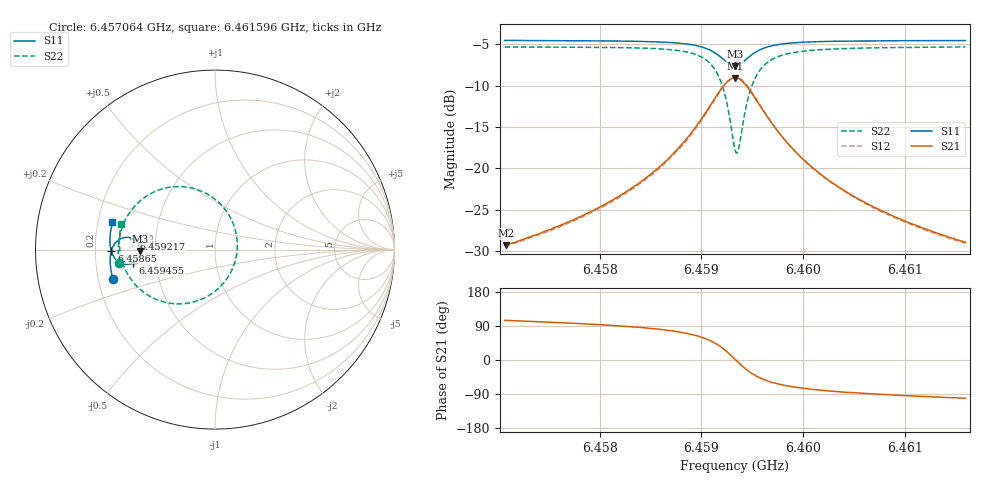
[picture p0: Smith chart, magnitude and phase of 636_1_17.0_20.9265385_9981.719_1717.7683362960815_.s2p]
#  HZ  S  RI  R  50.00
! Rohde & Schwarz Vector Network Analyzer
! Rohde-Schwarz,ZNB20-2Port,1311601062101988,3.16
! Created: UTC 3/20/2024, 11:20:38 PM
! freq[Hz]  re:S11  im:S11  re:S21  im:S21  re:S12  im:S12  re:S22  im:S22
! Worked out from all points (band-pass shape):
!   401 points, 6.457064 GHz to 6.461596 GHz, reference 50 ohm
!   highest |S21| = -9.08 dB at 6.45933 GHz (marker M1); lowest = -29.3 dB at 6.457076 GHz (marker M2)
!   |S21| within 3 dB of the highest: 6.459104 GHz to 6.459557 GHz (452.7 kHz wide, 0.00701 % of centre)
!   lowest |S11| = -7.6 dB at 6.45933 GHz (marker M3), VSWR 2.42, Z = 20.7 - j0.359 ohm
!   |S11| at or under -10 dB: nowhere
!   |S22| runs from -18.1 to -5.3 dB; largest |S21 - S12| = 0.014
!   S11 on the Smith chart (normalised r, x): 6.457064 GHz: 0.26, -0.13; 6.45865 GHz: 0.27, -0.00; 6.459217 GHz: 0.38, +0.05; 6.459455 GHz: 0.37, -0.07; 6.461596 GHz: 0.26, +0.12
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6.4570644e9  -0.5686 -0.1654  -0.00859 0.0332  -0.00691 0.0331  -0.5347 -0.0766
6.4570757e9  -0.5688 -0.1644  -0.00876 0.033  -0.00684 0.0332  -0.5349 -0.0754
6.4578234e9  -0.5817 -0.0985  -0.00517 0.0513  -0.00252 0.0506  -0.5388 0.0135
6.4582425e9  -0.5841 -0.0563  0.000993 0.071  0.00443 0.0696  -0.5295 0.0808
6.4585824e9  -0.5798 -0.0153  0.0154 0.1002  0.0193 0.0974  -0.5028 0.1589
6.4586504e9  -0.5774 -0.00585  0.0209 0.1087  0.025 0.1054  -0.4924 0.179
6.4588429e9  -0.5644 0.0246  0.0481 0.1399  0.0522 0.1348  -0.4412 0.2485
6.4589902e9  -0.5414 0.0509  0.0944 0.1705  0.0975 0.1636  -0.3559 0.3131
6.4591261e9  -0.4967 0.068  0.183 0.1867  0.1837 0.1792  -0.1936 0.351
6.4592168e9  -0.4515 0.0573  0.2741 0.1544  0.2743 0.1487  -0.0244 0.2984
6.4592847e9  -0.4221 0.0245  0.3352 0.0809  0.3375 0.0758  0.0924 0.1655
6.45933e9  -0.4153 -0.00719  0.3513 0.0117  0.3553 0.00482  0.1245 0.0357
6.459364e9  -0.4193 -0.0313  0.3452 -0.0417  0.3494 -0.0508  0.1121 -0.0659
6.4594093e9  -0.4354 -0.0578  0.3156 -0.1025  0.318 -0.1146  0.052 -0.1811
6.4594547e9  -0.4579 -0.0744  0.2725 -0.1439  0.2717 -0.1575  -0.0355 -0.2568
6.4595453e9  -0.5021 -0.0812  0.1859 -0.1749  0.1797 -0.1868  -0.2082 -0.3025
6.4596926e9  -0.5464 -0.0605  0.0965 -0.1599  0.0879 -0.1664  -0.3787 -0.2506
6.4598511e9  -0.5682 -0.0327  0.0512 -0.1314  0.0434 -0.1341  -0.4601 -0.1766
6.460089e9  -0.5808 0.0029  0.0219 -0.099  0.016 -0.0995  -0.5079 -0.0927
6.4604176e9  -0.5853 0.0425  0.00614 -0.0722  0.00203 -0.0717  -0.5289 -0.015
6.460848e9  -0.5833 0.0861  -0.0018 -0.0526  -0.0046 -0.0518  -0.533 0.0557
6.4615957e9  -0.5711 0.1526  -0.00671 -0.0351  -0.00854 -0.0341  -0.5215 0.145
